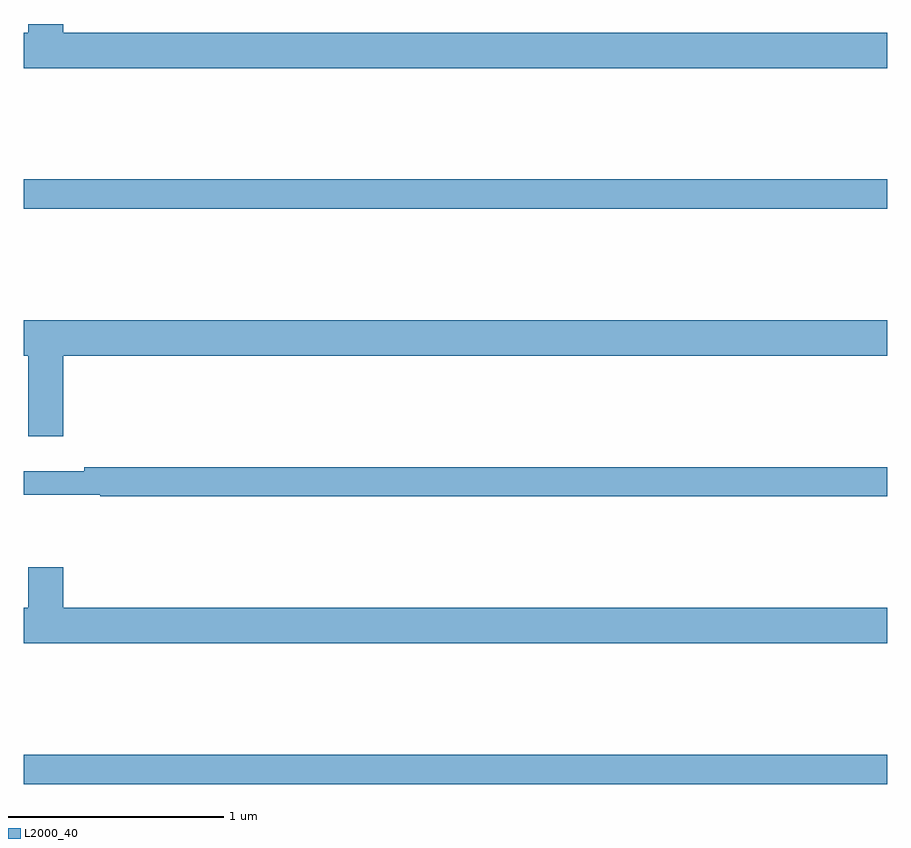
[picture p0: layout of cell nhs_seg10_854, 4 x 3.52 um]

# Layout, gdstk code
import gdstk
lib = gdstk.Library(unit=1e-6, precision=1e-09)
def R(c, l, rs):  # rectangles x0, y0, x1, y1
    for r in rs: c.add(gdstk.rectangle(r[:2], r[2:], *l))
def P(c, l, *ps):  # polygons
    for p in ps: c.add(gdstk.Polygon(p, *l))
L2000_40 = (2000, 40)

nhs_seg10_854 = lib.new_cell('nhs_seg10_854')
R(nhs_seg10_854, L2000_40, [(153,1316.98,157,1317.116), (153,1319.644,157,1319.78)])
P(nhs_seg10_854, L2000_40, [(157,1320.46),(153.184,1320.46),(153.184,1320.5),(153.02,1320.5),(153.02,1320.46),(153,1320.46),(153,1320.296),(157,1320.296)],
  [(153.184,1318.964),(157,1318.964),(157,1319.128),(153,1319.128),(153,1318.964),(153.02,1318.964),(153.02,1318.59),(153.184,1318.59)],
  [(157,1318.448),(153.28,1318.448),(153.28,1318.429),(153,1318.429),(153,1318.32),(153.355,1318.32),(153.355,1318.312),(157,1318.312)],
  [(157,1317.796),(153.184,1317.796),(153.184,1317.985),(153.02,1317.985),(153.02,1317.796),(153,1317.796),(153,1317.632),(157,1317.632)])

lib.write_gds('nhs_seg10_854.gds')
